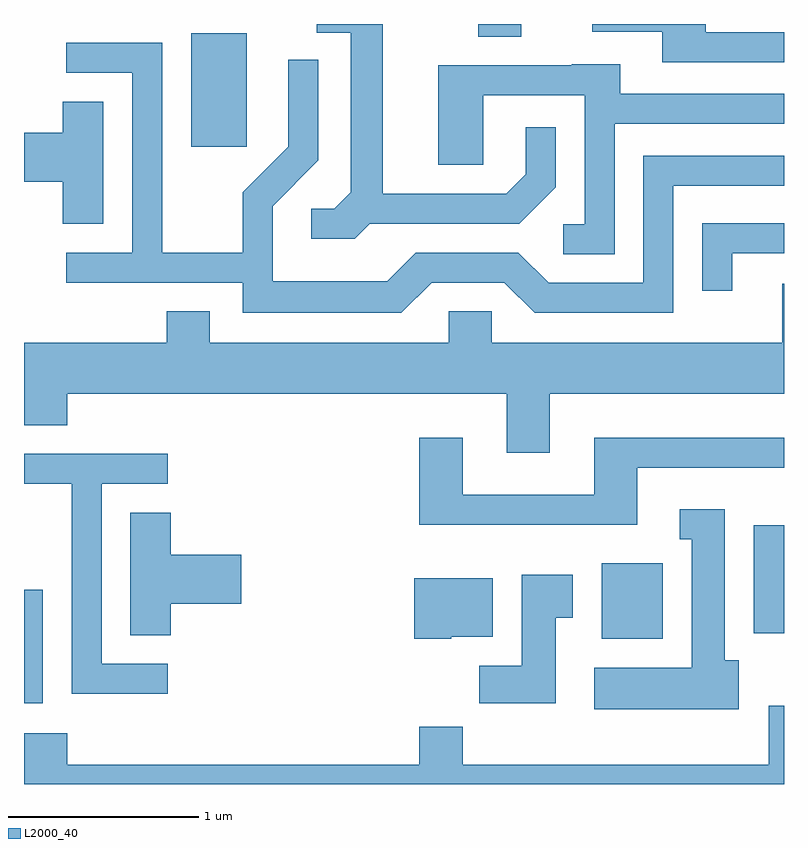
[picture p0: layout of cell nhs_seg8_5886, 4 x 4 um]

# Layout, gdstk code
import gdstk
lib = gdstk.Library(unit=1e-6, precision=1e-09)
def R(c, l, rs):  # rectangles x0, y0, x1, y1
    for r in rs: c.add(gdstk.rectangle(r[:2], r[2:], *l))
def P(c, l, *ps):  # polygons
    for p in ps: c.add(gdstk.Polygon(p, *l))
L2000_40 = (2000, 40)

nhs_seg8_5886 = lib.new_cell('nhs_seg8_5886')
R(nhs_seg8_5886, L2000_40, [(361.611,1854.766,361.709,1855.364), (364.651,1855.106,364.974,1855.504), (365.451,1855.136,365.611,1855.704), (362.491,1857.696,362.784,1858.294), (364.001,1858.276,364.229,1858.342)])
P(nhs_seg8_5886, L2000_40, [(363.432,1857.291),(364.217,1857.291),(364.409,1857.484),(364.409,1857.798),(364.251,1857.798),(364.251,1857.552),(364.149,1857.449),(363.499,1857.449),(363.499,1858.342),(363.153,1858.342),(363.153,1858.296),(363.331,1858.296),(363.331,1857.457),(363.244,1857.369),(363.123,1857.369),(363.123,1857.211),(363.352,1857.211)],
  [(365.611,1858.299),(365.199,1858.299),(365.199,1858.342),(364.603,1858.342),(364.603,1858.301),(364.971,1858.301),(364.971,1858.141),(365.611,1858.141)],
  [(363.757,1856.981),(364.139,1856.981),(364.299,1856.821),(365.029,1856.821),(365.029,1857.491),(365.611,1857.491),(365.611,1857.649),(364.871,1857.649),(364.871,1856.979),(364.372,1856.979),(364.212,1857.139),(363.674,1857.139),(363.524,1856.989),(362.919,1856.989),(362.919,1857.384),(363.159,1857.624),(363.159,1858.153),(363.001,1858.153),(363.001,1857.697),(362.761,1857.457),(362.761,1857.139),(362.339,1857.139),(362.339,1858.244),(361.833,1858.244),(361.833,1858.086),(362.181,1858.086),(362.181,1857.139),(361.833,1857.139),(361.833,1856.981),(362.761,1856.981),(362.761,1856.821),(363.597,1856.821)],
  [(364.719,1857.816),(365.611,1857.816),(365.611,1857.974),(364.749,1857.974),(364.749,1858.129),(364.495,1858.129),(364.495,1858.124),(363.791,1858.124),(363.791,1857.601),(364.029,1857.601),(364.029,1857.966),(364.561,1857.966),(364.561,1857.289),(364.448,1857.289),(364.448,1857.131),(364.719,1857.131)],
  [(362.029,1857.934),(361.816,1857.934),(361.816,1857.769),(361.611,1857.769),(361.611,1857.511),(361.816,1857.511),(361.816,1857.291),(362.029,1857.291)],
  [(365.339,1857.136),(365.611,1857.136),(365.611,1857.294),(365.181,1857.294),(365.181,1856.938),(365.339,1856.938)],
  [(364.379,1856.396),(365.611,1856.396),(365.611,1856.974),(365.601,1856.974),(365.601,1856.664),(364.074,1856.664),(364.074,1856.829),(363.846,1856.829),(363.846,1856.664),(362.589,1856.664),(362.589,1856.829),(362.361,1856.829),(362.361,1856.664),(361.611,1856.664),(361.611,1856.231),(361.839,1856.231),(361.839,1856.396),(364.151,1856.396),(364.151,1856.086),(364.379,1856.086)],
  [(364.839,1856.006),(365.611,1856.006),(365.611,1856.164),(364.611,1856.164),(364.611,1855.864),(363.919,1855.864),(363.919,1856.164),(363.691,1856.164),(363.691,1855.706),(364.839,1855.706)],
  [(362.368,1854.974),(362.019,1854.974),(362.019,1855.921),(362.368,1855.921),(362.368,1856.079),(361.611,1856.079),(361.611,1855.921),(361.861,1855.921),(361.861,1854.816),(362.368,1854.816)],
  [(365.374,1854.994),(365.299,1854.994),(365.299,1855.789),(365.063,1855.789),(365.063,1855.631),(365.126,1855.631),(365.126,1854.954),(364.611,1854.954),(364.611,1854.736),(365.374,1854.736)],
  [(362.384,1855.291),(362.754,1855.291),(362.754,1855.549),(362.384,1855.549),(362.384,1855.769),(362.171,1855.769),(362.171,1855.126),(362.384,1855.126)],
  [(364.409,1855.216),(364.499,1855.216),(364.499,1855.444),(364.231,1855.444),(364.231,1854.964),(364.006,1854.964),(364.006,1854.766),(364.409,1854.766)],
  [(363.86,1855.116),(364.079,1855.116),(364.079,1855.424),(363.666,1855.424),(363.666,1855.106),(363.86,1855.106)],
  [(365.611,1854.754),(365.531,1854.754),(365.531,1854.444),(363.919,1854.444),(363.919,1854.644),(363.691,1854.644),(363.691,1854.444),(361.839,1854.444),(361.839,1854.609),(361.611,1854.609),(361.611,1854.342),(365.611,1854.342)])

lib.write_gds('nhs_seg8_5886.gds')
